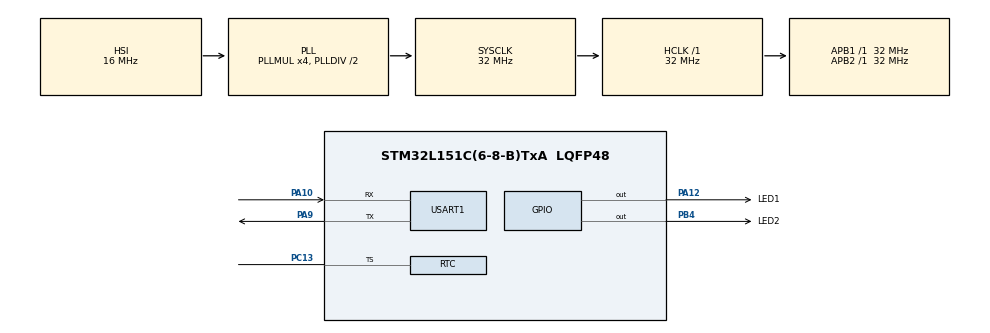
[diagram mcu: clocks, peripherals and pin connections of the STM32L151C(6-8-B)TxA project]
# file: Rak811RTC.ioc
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Mcu.Family=STM32L1
Mcu.Name=STM32L151C(6-8-B)TxA
Mcu.Package=LQFP48
NVIC.PriorityGroup=NVIC_PRIORITYGROUP_4
PA10.Mode=Asynchronous
PA10.Signal=USART1_RX
PA12.GPIO_Label=LED1
PA12.PinState=GPIO_PIN_SET
PA12.Signal=GPIO_Output
PA13.Mode=Serial_Wire
PA13.Signal=SYS_JTMS-SWDIO
PA14.Mode=Serial_Wire
PA14.Signal=SYS_JTCK-SWCLK
PA9.Mode=Asynchronous
PA9.Signal=USART1_TX
PB4.GPIO_Label=LED2
PB4.PinState=GPIO_PIN_SET
PB4.Signal=GPIO_Output
PC13-WKUP2.Mode=Timestamp enabled - Input Enabled to TS
PC13-WKUP2.Signal=RTC_TS
PC14-OSC32_IN.Mode=LSE-External-Oscillator
PC14-OSC32_IN.Signal=RCC_OSC32_IN
PC15-OSC32_OUT.Mode=LSE-External-Oscillator
PC15-OSC32_OUT.Signal=RCC_OSC32_OUT
ProjectManager.HeapSize=0x200
ProjectManager.StackSize=0x400
ProjectManager.TargetToolchain=SW4STM32
RCC.48MHZClocksFreq_Value=32000000
RCC.AHBFreq_Value=32000000
RCC.APB1Freq_Value=32000000
RCC.APB1TimFreq_Value=32000000
RCC.APB2Freq_Value=32000000
RCC.APB2TimFreq_Value=32000000
RCC.HCLKFreq_Value=32000000
RCC.HSE_VALUE=24000000
RCC.HSI_VALUE=16000000
RCC.MSI_VALUE=2097000
RCC.PLLMUL=RCC_PLL_MUL4
RCC.RTCClockSelection=RCC_RTCCLKSOURCE_LSE
RCC.SYSCLKFreq_VALUE=32000000
RCC.SYSCLKSource=RCC_SYSCLKSOURCE_PLLCLK
RCC.VCOOutputFreq_Value=64000000
RTC.Format=RTC_FORMAT_BIN
RTC.Hours=13
RTC.Minutes=44
RTC.Month=RTC_MONTH_SEPTEMBER
RTC.WeekDay=RTC_WEEKDAY_SATURDAY
RTC.Year=18
USART1.VirtualMode=VM_ASYNC
VP_RTC_VS_RTC_Activate.Mode=RTC_Enabled
VP_RTC_VS_RTC_Calendar.Mode=RTC_Calendar
board=custom

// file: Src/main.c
/**
  ******************************************************************************
  * @file           : main.c
  * @brief          : Main program body
  ******************************************************************************
  ** This notice applies to any and all portions of this file
  * that are not between comment pairs USER CODE BEGIN and
  * USER CODE END. Other portions of this file, whether
  * inserted by the user or by software development tools
  * are owned by their respective copyright owners.
  *
  * COPYRIGHT(c) 2018 STMicroelectronics
  *
  * Redistribution and use in source and binary forms, with or without modification,
  * are permitted provided that the following conditions are met:
  *   1. Redistributions of source code must retain the above copyright notice,
  *      this list of conditions and the following disclaimer.
  *   2. Redistributions in binary form must reproduce the above copyright notice,
  *      this list of conditions and the following disclaimer in the documentation
  *      and/or other materials provided with the distribution.
  *   3. Neither the name of STMicroelectronics nor the names of its contributors
  *      may be used to endorse or promote products derived from this software
  *      without specific prior written permission.
  *
  * THIS SOFTWARE IS PROVIDED BY THE COPYRIGHT HOLDERS AND CONTRIBUTORS "AS IS"
  * AND ANY EXPRESS OR IMPLIED WARRANTIES, INCLUDING, BUT NOT LIMITED TO, THE
  * IMPLIED WARRANTIES OF MERCHANTABILITY AND FITNESS FOR A PARTICULAR PURPOSE ARE
  * DISCLAIMED. IN NO EVENT SHALL THE COPYRIGHT HOLDER OR CONTRIBUTORS BE LIABLE
  * FOR ANY DIRECT, INDIRECT, INCIDENTAL, SPECIAL, EXEMPLARY, OR CONSEQUENTIAL
  * DAMAGES (INCLUDING, BUT NOT LIMITED TO, PROCUREMENT OF SUBSTITUTE GOODS OR
  * SERVICES; LOSS OF USE, DATA, OR PROFITS; OR BUSINESS INTERRUPTION) HOWEVER
  * CAUSED AND ON ANY THEORY OF LIABILITY, WHETHER IN CONTRACT, STRICT LIABILITY,
  * OR TORT (INCLUDING NEGLIGENCE OR OTHERWISE) ARISING IN ANY WAY OUT OF THE USE
  * OF THIS SOFTWARE, EVEN IF ADVISED OF THE POSSIBILITY OF SUCH DAMAGE.
  *
  ******************************************************************************
  */
#include "main.h"
#include "stm32l1xx_hal.h"

/* USER CODE BEGIN Includes */
#include "stdlib.h"
#include <string.h>
#include <stdbool.h>
/* USER CODE END Includes */

RTC_HandleTypeDef hrtc;

UART_HandleTypeDef huart1;

/* USER CODE BEGIN PV */
/* Private variables ---------------------------------------------------------*/

/* USER CODE END PV */

void SystemClock_Config(void);
static void MX_GPIO_Init(void);
static void MX_RTC_Init(void);
static void MX_USART1_UART_Init(void);

/* USER CODE BEGIN PFP */
/* Private function prototypes -----------------------------------------------*/

/* USER CODE END PFP */

/* USER CODE BEGIN 0 */
void stop(){
	while (1)
		HAL_Delay(10000);
}

/* USER CODE END 0 */

int main(void)
{
  /* USER CODE BEGIN 1 */

	RTC_DateTypeDef currentDate;
	RTC_TimeTypeDef currentTime;

	char inBuf[20],*inBufPtr;
	size_t i,noOfChars;
	char *endPtr;

	RTC_TimeTypeDef sTime;
	RTC_DateTypeDef sDate;

	char *weekDay[7] = {"MON","TUE","WED","THU","FRI","SAT","SUN"};
	char weekDayBuf[4];
	bool found;
  /* USER CODE END 1 */

  /* MCU Configuration----------------------------------------------------------*/

  /* Reset of all peripherals, Initializes the Flash interface and the Systick. */
  HAL_Init();

  /* Configure the system clock */
  SystemClock_Config();

  /* Initialize all configured peripherals */
  MX_GPIO_Init();
  MX_RTC_Init();
  MX_USART1_UART_Init();
  /* USER CODE BEGIN 2 */
  printf("Real Time Clock Demo\r\n");
  printf("Asks the user for the current time in the format: hh:mm:ss\r\n");
  printf("Prints the time every 5 s\r\n");

  /* read current date */

  printf("Please enter date in the format: weekday(e.g.) TUE yy-mm-dd: ");

  inBufPtr = inBuf;

  for (noOfChars=0; noOfChars<18; noOfChars++) {
	  *inBufPtr = (char) getchar();
	  putchar(*inBufPtr);        /* echo the character */
	  if (*inBufPtr == '\r')
		  break;
	  inBufPtr++;
  }
  *inBufPtr++ = '\n';
  *inBufPtr = '\0';
  printf("\r\n");
  printf("No of chars read: %d\r\n",noOfChars);
  printf("Date read: %s\r\n",inBuf);

  /* get the weekday and compare to the list */

  inBufPtr = inBuf;
  printf("weekday: ");
  for (int i=0; i<3;i++) {
	  weekDayBuf[i] = *inBufPtr & 0x5f;    // convert to upper case
	  printf("%c",*inBufPtr);
	  inBufPtr++;
  }
  printf("\r\n");
/* get the weekday */
  weekDayBuf[3] = '\0';
  found = false;
  for (i=0; i<7; i++)
	  if (!strcmp(weekDayBuf,weekDay[i]))
		  found = true;
  if (found)
	  printf("The day is %d\r\n",i);
  else
	  printf("The weekday %s is not known\r\n",weekDayBuf);
  if (*inBufPtr++ != ' ')
	  printf("Invalid date format\r\n");
/* get the year */
  currentDate.Year = (uint8_t) strtol(inBufPtr,&endPtr,10);
  if ((currentDate.Year == 0) && (endPtr == inBufPtr)) {
	  printf("Could not convert the year from ascii to int\r\n");
	  stop();
  }
  else
	  printf("year: %d\r\n",currentDate.Year);
  inBufPtr = endPtr;
  if (*inBufPtr++ != '-') {
	  printf("Invalid date format\r\n");
	  stop();
  }
/* get the month */
  currentDate.Month = (uint8_t) strtol(inBufPtr,&endPtr,10);
  if ((currentDate.Month == 0) && (endPtr == inBufPtr)) {
	  printf("Could not convert the month from ascii to int\r\n");
	  stop();
  }
  else
	  printf("month: %d\r\n",currentDate.Month);
  if ((currentDate.Month == 0) || (currentDate.Month >12)) {
	  printf("Invalid month\r\n");
	  stop();
  }

  inBufPtr = endPtr;
  if (*inBufPtr++ != '-') {
	  printf("Invalid date format\r\n");
	  stop();
  }
/* get the day */
  currentDate.Date = (uint8_t) strtol(inBufPtr,&endPtr,10);
  if ((currentDate.Date == 0) && (endPtr == inBufPtr)) {
	  printf("Could not convert the day from ascii to int\r\n");
	  stop();
  }
  else
	  printf("day: %d\r\n",currentDate.Date);
  if ((currentDate.Date == 0) || (currentDate.Date >31)) {
	  printf("Invalid day\r\n");
	  stop();
  }
  /* read time */

  printf("Please enter the current time in the format: hh:mm:ss ");
  inBufPtr = inBuf;

  for (noOfChars=0; noOfChars<18; noOfChars++) {
	  *inBufPtr = (char) getchar();
	  putchar(*inBufPtr);        /* echo the character */
	  if (*inBufPtr == '\r')
		  break;
	  inBufPtr++;
  }
  *inBufPtr++ = '\n';
  *inBufPtr = '\0';
  printf("\r\n");
  printf("No of chars read: %d\r\n",noOfChars);
  printf("Time read: %s\r\n",inBuf);

  inBufPtr = inBuf;
  currentTime.Hours = (uint8_t) strtol(inBufPtr,&endPtr,10);
  if ((currentTime.Hours == 0) && (endPtr == inBufPtr)) {
	  printf("Could not convert the hour from ascii to int\r\n");
	  stop();
  }
  else
	  printf("hour: %d\r\n",currentTime.Hours);

  if (currentTime.Hours > 23) {
	  printf("Invalid hour: should be 0..23\r\n");
	  stop();
  }

  inBufPtr = endPtr;
  if (*inBufPtr++ != ':') {
	  printf("Invalid time format\r\n");
	  stop();
  }

  currentTime.Minutes = (uint8_t) strtol(inBufPtr,&endPtr,10);
  if ((currentTime.Minutes == 0) && (endPtr == inBufPtr)) {
	  printf("Could not convert the minutes from sscii to int\r\n");
	  stop();
  }
  else
	  printf("min: %d\r\n",currentTime.Minutes);

  if (currentTime.Minutes > 59) {
	  printf("Invalid minutes: should be 0..59\r\n");
	  stop();
  }

  inBufPtr = endPtr;
  if (*inBufPtr++ != ':') {
	  printf("Invalid time format\r\n");
	  stop();
  }

  currentTime.Seconds = (uint8_t) strtol(inBufPtr,&endPtr,10);
  if ((currentTime.Seconds == 0) && (endPtr == inBufPtr)) {
	  printf("Could not convert the secondes from ascii to int\r\n");
	  stop();
  }
  else
	  printf("s: %d\r\n",currentTime.Seconds);

  if (currentTime.Seconds > 59) {
	  printf("Invalid seconds: should be 0..59\r\n");
	  stop();
  }
  currentTime.SecondFraction = 0;
  currentTime.StoreOperation = RTC_STOREOPERATION_RESET;
  currentTime.DayLightSaving = RTC_DAYLIGHTSAVING_NONE;

  if (HAL_RTC_SetTime(&hrtc, &currentTime, RTC_FORMAT_BIN) != HAL_OK) {
	  printf("Count not set the time\r\n");
	  stop();
  }
  printf("Time successfully set\r\n");

  if (HAL_RTC_SetDate(&hrtc, &currentDate, RTC_FORMAT_BIN) != HAL_OK) {
	  printf("Count not set the time\r\n");
	  stop();
  }
  printf("Date successfully set\r\n");
  /* USER CODE END 2 */

  /* Infinite loop */
  /* USER CODE BEGIN WHILE */
  while (1)
  {

	  if (HAL_RTC_GetDate(&hrtc, &sDate, RTC_FORMAT_BIN) != HAL_OK) {
		  printf("Cannot read time from RTC\r\n");
		  stop();
	  }
	  else
		  printf("Date: %02x-%02d-%02d   ",sDate.Year,sDate.Month,sDate.Date);

	  if (HAL_RTC_GetTime(&hrtc, &sTime, RTC_FORMAT_BIN) != HAL_OK) {
		  printf("Cannot read time from RTC\r\n");
		  stop();
	  }
	  else
		  printf("Time: %02d:%02d:%02d\r\n",sTime.Hours,sTime.Minutes,sTime.Seconds);

	  HAL_Delay(5000);
  /* USER CODE END WHILE */

  }

}

void SystemClock_Config(void)
{

  RCC_OscInitTypeDef RCC_OscInitStruct;
  RCC_ClkInitTypeDef RCC_ClkInitStruct;
  RCC_PeriphCLKInitTypeDef PeriphClkInit;

    /**Configure the main internal regulator output voltage
    */
  __HAL_PWR_VOLTAGESCALING_CONFIG(PWR_REGULATOR_VOLTAGE_SCALE1);

    /**Initializes the CPU, AHB and APB busses clocks
    */
  RCC_OscInitStruct.OscillatorType = RCC_OSCILLATORTYPE_HSI|RCC_OSCILLATORTYPE_LSE;
  RCC_OscInitStruct.LSEState = RCC_LSE_ON;
  RCC_OscInitStruct.HSIState = RCC_HSI_ON;
  RCC_OscInitStruct.HSICalibrationValue = 16;
  RCC_OscInitStruct.PLL.PLLState = RCC_PLL_ON;
  RCC_OscInitStruct.PLL.PLLSource = RCC_PLLSOURCE_HSI;
  RCC_OscInitStruct.PLL.PLLMUL = RCC_PLL_MUL4;
  RCC_OscInitStruct.PLL.PLLDIV = RCC_PLL_DIV2;
  if (HAL_RCC_OscConfig(&RCC_OscInitStruct) != HAL_OK)
  {
    _Error_Handler(__FILE__, __LINE__);
  }

    /**Initializes the CPU, AHB and APB busses clocks
    */
  RCC_ClkInitStruct.ClockType = RCC_CLOCKTYPE_HCLK|RCC_CLOCKTYPE_SYSCLK
                              |RCC_CLOCKTYPE_PCLK1|RCC_CLOCKTYPE_PCLK2;
  RCC_ClkInitStruct.SYSCLKSource = RCC_SYSCLKSOURCE_PLLCLK;
  RCC_ClkInitStruct.AHBCLKDivider = RCC_SYSCLK_DIV1;
  RCC_ClkInitStruct.APB1CLKDivider = RCC_HCLK_DIV1;
  RCC_ClkInitStruct.APB2CLKDivider = RCC_HCLK_DIV1;

  if (HAL_RCC_ClockConfig(&RCC_ClkInitStruct, FLASH_LATENCY_1) != HAL_OK)
  {
    _Error_Handler(__FILE__, __LINE__);
  }

  PeriphClkInit.PeriphClockSelection = RCC_PERIPHCLK_RTC;
  PeriphClkInit.RTCClockSelection = RCC_RTCCLKSOURCE_LSE;
  if (HAL_RCCEx_PeriphCLKConfig(&PeriphClkInit) != HAL_OK)
  {
    _Error_Handler(__FILE__, __LINE__);
  }

    /**Configure the Systick interrupt time
    */
  HAL_SYSTICK_Config(HAL_RCC_GetHCLKFreq()/1000);

    /**Configure the Systick
    */
  HAL_SYSTICK_CLKSourceConfig(SYSTICK_CLKSOURCE_HCLK);

  /* SysTick_IRQn interrupt configuration */
  HAL_NVIC_SetPriority(SysTick_IRQn, 0, 0);
}

/* RTC init function */
static void MX_RTC_Init(void)
{

  RTC_TimeTypeDef sTime;
  RTC_DateTypeDef sDate;

    /**Initialize RTC Only
    */
  hrtc.Instance = RTC;
  hrtc.Init.HourFormat = RTC_HOURFORMAT_24;
  hrtc.Init.AsynchPrediv = 127;
  hrtc.Init.SynchPrediv = 255;
  hrtc.Init.OutPut = RTC_OUTPUT_DISABLE;
  hrtc.Init.OutPutPolarity = RTC_OUTPUT_POLARITY_HIGH;
  hrtc.Init.OutPutType = RTC_OUTPUT_TYPE_OPENDRAIN;
  if (HAL_RTC_Init(&hrtc) != HAL_OK)
  {
    _Error_Handler(__FILE__, __LINE__);
  }

    /**Initialize RTC and set the Time and Date
    */
  sTime.Hours = 13;
  sTime.Minutes = 44;
  sTime.Seconds = 0;
  sTime.DayLightSaving = RTC_DAYLIGHTSAVING_NONE;
  sTime.StoreOperation = RTC_STOREOPERATION_RESET;
  if (HAL_RTC_SetTime(&hrtc, &sTime, RTC_FORMAT_BIN) != HAL_OK)
  {
    _Error_Handler(__FILE__, __LINE__);
  }

  sDate.WeekDay = RTC_WEEKDAY_SATURDAY;
  sDate.Month = RTC_MONTH_SEPTEMBER;
  sDate.Date = 1;
  sDate.Year = 18;

  if (HAL_RTC_SetDate(&hrtc, &sDate, RTC_FORMAT_BIN) != HAL_OK)
  {
    _Error_Handler(__FILE__, __LINE__);
  }

    /**Enable the TimeStamp
    */
  if (HAL_RTCEx_SetTimeStamp(&hrtc, RTC_TIMESTAMPEDGE_RISING) != HAL_OK)
  {
    _Error_Handler(__FILE__, __LINE__);
  }

}

/* USART1 init function */
static void MX_USART1_UART_Init(void)
{

  huart1.Instance = USART1;
  huart1.Init.BaudRate = 115200;
  huart1.Init.WordLength = UART_WORDLENGTH_8B;
  huart1.Init.StopBits = UART_STOPBITS_1;
  huart1.Init.Parity = UART_PARITY_NONE;
  huart1.Init.Mode = UART_MODE_TX_RX;
  huart1.Init.HwFlowCtl = UART_HWCONTROL_NONE;
  huart1.Init.OverSampling = UART_OVERSAMPLING_16;
  if (HAL_UART_Init(&huart1) != HAL_OK)
  {
    _Error_Handler(__FILE__, __LINE__);
  }

}

/** Configure pins as
        * Analog
        * Input
        * Output
        * EVENT_OUT
        * EXTI
*/
static void MX_GPIO_Init(void)
{

  GPIO_InitTypeDef GPIO_InitStruct;

  /* GPIO Ports Clock Enable */
  __HAL_RCC_GPIOC_CLK_ENABLE();
  __HAL_RCC_GPIOA_CLK_ENABLE();
  __HAL_RCC_GPIOB_CLK_ENABLE();

  /*Configure GPIO pin Output Level */
  HAL_GPIO_WritePin(LED1_GPIO_Port, LED1_Pin, GPIO_PIN_SET);

  /*Configure GPIO pin Output Level */
  HAL_GPIO_WritePin(LED2_GPIO_Port, LED2_Pin, GPIO_PIN_SET);

  /*Configure GPIO pin : LED1_Pin */
  GPIO_InitStruct.Pin = LED1_Pin;
  GPIO_InitStruct.Mode = GPIO_MODE_OUTPUT_PP;
  GPIO_InitStruct.Pull = GPIO_NOPULL;
  GPIO_InitStruct.Speed = GPIO_SPEED_FREQ_LOW;
  HAL_GPIO_Init(LED1_GPIO_Port, &GPIO_InitStruct);

  /*Configure GPIO pin : LED2_Pin */
  GPIO_InitStruct.Pin = LED2_Pin;
  GPIO_InitStruct.Mode = GPIO_MODE_OUTPUT_PP;
  GPIO_InitStruct.Pull = GPIO_NOPULL;
  GPIO_InitStruct.Speed = GPIO_SPEED_FREQ_LOW;
  HAL_GPIO_Init(LED2_GPIO_Port, &GPIO_InitStruct);

}

void _Error_Handler(char *file, int line)
{
  while(1)
  {
  }
}

/************************ (C) COPYRIGHT STMicroelectronics *****END OF FILE****/
